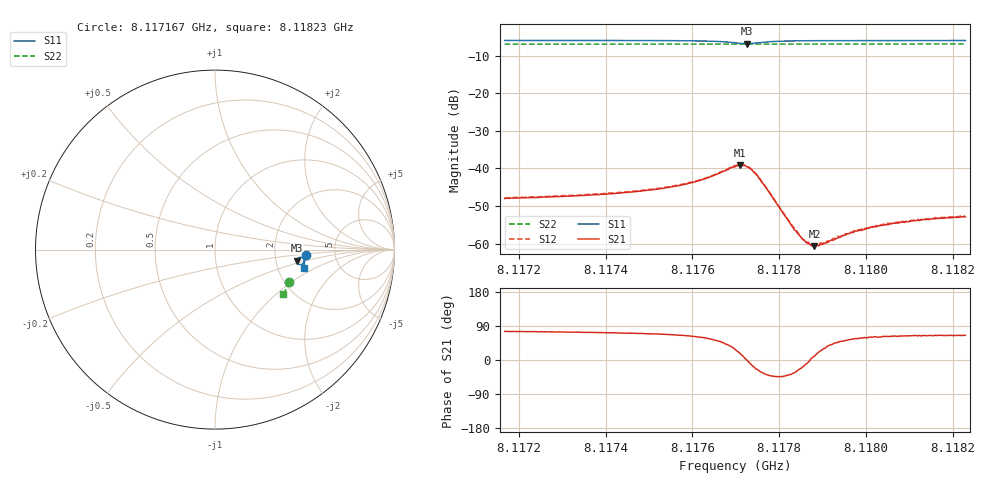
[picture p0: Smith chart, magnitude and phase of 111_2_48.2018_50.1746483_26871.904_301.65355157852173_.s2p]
#  HZ  S  RI  R  50.00
! Rohde & Schwarz Vector Network Analyzer
! Rohde-Schwarz,ZNB20-2Port,1311601062101988,3.16
! Created: UTC 3/20/2024, 11:41:00 AM
! freq[Hz]  re:S11  im:S11  re:S21  im:S21  re:S12  im:S12  re:S22  im:S22
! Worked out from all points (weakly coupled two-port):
!   401 points, 8.117167 GHz to 8.11823 GHz, reference 50 ohm
!   highest |S21| = -39.12 dB at 8.117709 GHz (marker M1); lowest = -60.7 dB at 8.117882 GHz (marker M2)
!   lowest |S11| = -6.8 dB at 8.117725 GHz (marker M3), VSWR 2.70, Z = 131 - j20.2 ohm
!   |S11| at or under -10 dB: nowhere
!   |S22| runs from -6.9 to -6.9 dB; largest |S21 - S12| = 0.00045
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8.1171669e9  0.5048 -0.0301  0.00101 0.00386  0.00107 0.00395  0.4135 -0.1805
8.1173449e9  0.5033 -0.045  0.00127 0.00417  0.00137 0.00423  0.4087 -0.1921
8.1174325e9  0.502 -0.0529  0.00148 0.00448  0.00159 0.00457  0.4063 -0.1976
8.1175229e9  0.4997 -0.0624  0.00198 0.00495  0.00204 0.00504  0.4037 -0.2038
8.1175813e9  0.4966 -0.0696  0.00264 0.00553  0.00274 0.00562  0.4018 -0.2073
8.1176159e9  0.4931 -0.075  0.00342 0.00598  0.0035 0.00607  0.4006 -0.2096
8.1176982e9  0.4641 -0.0807  0.0093 0.00497  0.00974 0.00504  0.3969 -0.2144
8.1177088e9  0.4582 -0.0747  0.0105 0.00352  0.0107 0.0034  0.3965 -0.2148
8.1177248e9  0.4547 -0.0608  0.0106 -7.16e-06  0.0109 -0.000129  0.396 -0.2151
8.1177381e9  0.4599 -0.0494  0.00921 -0.0024  0.0093 -0.0025  0.396 -0.2154
8.117754e9  0.471 -0.0432  0.00645 -0.0035  0.00657 -0.00372  0.3959 -0.2163
8.1178311e9  0.4958 -0.057  0.00136 -0.000957  0.00139 -0.000981  0.3948 -0.2217
8.1178523e9  0.4971 -0.0611  0.0011 -0.000404  0.00113 -0.000385  0.394 -0.2232
8.1178656e9  0.4977 -0.0633  0.00101 -0.000131  0.00105 -0.000141  0.3937 -0.2242
8.1178762e9  0.4979 -0.0651  0.000924 9.08e-05  0.000982 7.6e-05  0.3933 -0.2248
8.1178815e9  0.498 -0.0658  0.000911 0.000161  0.000949 0.000159  0.393 -0.225
8.1179028e9  0.4983 -0.0688  0.000867 0.000503  0.000908 0.000507  0.3924 -0.2265
8.1179294e9  0.4984 -0.0721  0.000813 0.000814  0.000832 0.000825  0.3916 -0.2283
8.1179798e9  0.4983 -0.0776  0.000813 0.00122  0.000845 0.00122  0.39 -0.2315
8.1180542e9  0.4975 -0.085  0.000873 0.0016  0.000886 0.00165  0.3874 -0.2362
8.1181339e9  0.4964 -0.092  0.000892 0.0019  0.000928 0.00188  0.3847 -0.2411
8.1182296e9  0.495 -0.0999  0.000943 0.00206  0.00101 0.00207  0.3813 -0.2468
